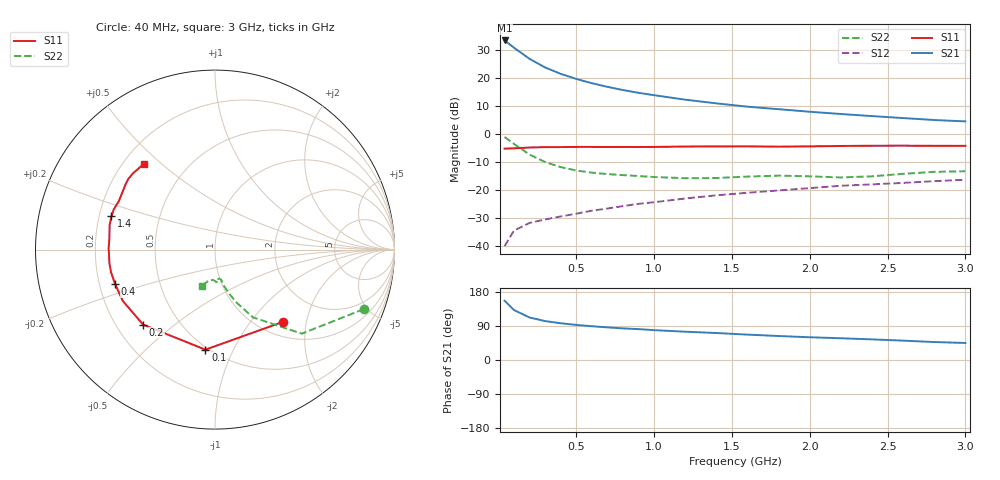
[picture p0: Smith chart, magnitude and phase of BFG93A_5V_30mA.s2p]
! Filename:  BFG93AD.S2P  Version:  2.0
! Philips part #: BFG 93A  Date: Jun 1990
! Bias condition: Vce=5V, Ic=30mA
! IN LINE PINNING: same data as with cross emitter pinning.
#  MHz  S  MA  R  50
! Freq  S11  S21  S12  S22  !GUM [dB]
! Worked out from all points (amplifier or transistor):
!   21 points, 40 MHz to 3 GHz, reference 50 ohm
!   highest |S21| = 33.5 dB at 40 MHz (marker M1)
!   |S21| within 3 dB of that: start of sweep to 110.6 MHz
!   unconditionally stable (mu >= 1): 663.1 MHz to end of sweep
!   at 300 MHz: K = 0.68, MSG = 27.2 dB, |S12| = -30.5 dB
!   at 1 GHz: K = 1.12, MAG = 17.1 dB, |S12| = -24.3 dB
!   at 3 GHz: K = 1.24, MAG = 7.5 dB, |S12| = -16.2 dB
!   lowest NFmin = 2.10 dB at 500 MHz
!   S11 on the Smith chart (normalised r, x): 40 MHz: 1.27, -1.47; 100 MHz: 0.48, -0.78; 200 MHz: 0.31, -0.39; 400 MHz: 0.27, -0.16; 1.4 GHz: 0.25, +0.15; 3 GHz: 0.28, +0.44
40  0.553 -46.7  47.37 156.3  0.01 71.5  0.893 -21.8
100  0.56 -95.5  35.21 131.9  0.019 56.3  0.673 -44.1
200  0.579 -133.8  22.21 112.2  0.026 47.9  0.433 -60.7
300  0.588 -151.0  15.63 102.7  0.03 49.1  0.319 -67.8
400  0.589 -161.1  12.01 97.0  0.034 51.0  0.259 -72.2
500  0.593 -167.8  9.745 92.6  0.038 53.6  0.225 -74.6
600  0.593 -172.8  8.161 89.1  0.043 55.7  0.206 -76.5
700  0.591 -177.2  7.024 86.1  0.047 57.7  0.194 -77.5
800  0.593 179.2  6.16 83.4  0.052 59.4  0.186 -77.7
900  0.591 175.8  5.499 81.5  0.057 60.4  0.179 -77.9
1000  0.593 172.7  4.986 78.8  0.061 61.4  0.172 -78.2
1200  0.603 166.8  4.143 74.7  0.071 62.9  0.164 -81.1
1400  0.606 162.2  3.561 71.2  0.081 63.8  0.165 -86.3
1600  0.607 158.5  3.107 67.0  0.09 63.7  0.175 -88.0
1800  0.6 153.2  2.801 63.3  0.099 63.8  0.182 -87.1
2000  0.607 148.1  2.522 60.0  0.109 64.0  0.177 -88.6
2200  0.617 143.8  2.298 57.4  0.12 63.3  0.169 -94.1
2400  0.623 140.9  2.109 54.4  0.127 63.4  0.177 -101.7
2600  0.624 137.1  1.944 51.1  0.135 63.5  0.196 -106.5
2800  0.621 133.3  1.794 47.4  0.145 63.1  0.213 -108.0
3000  0.62 129.4  1.696 44.9  0.154 60.3  0.218 -109.5
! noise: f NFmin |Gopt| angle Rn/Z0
500  2.1  0.137  135.1  0.2
1000  2.6  0.242  144.1  0.24
2000  3.4  0.48  -161.4  0.183
